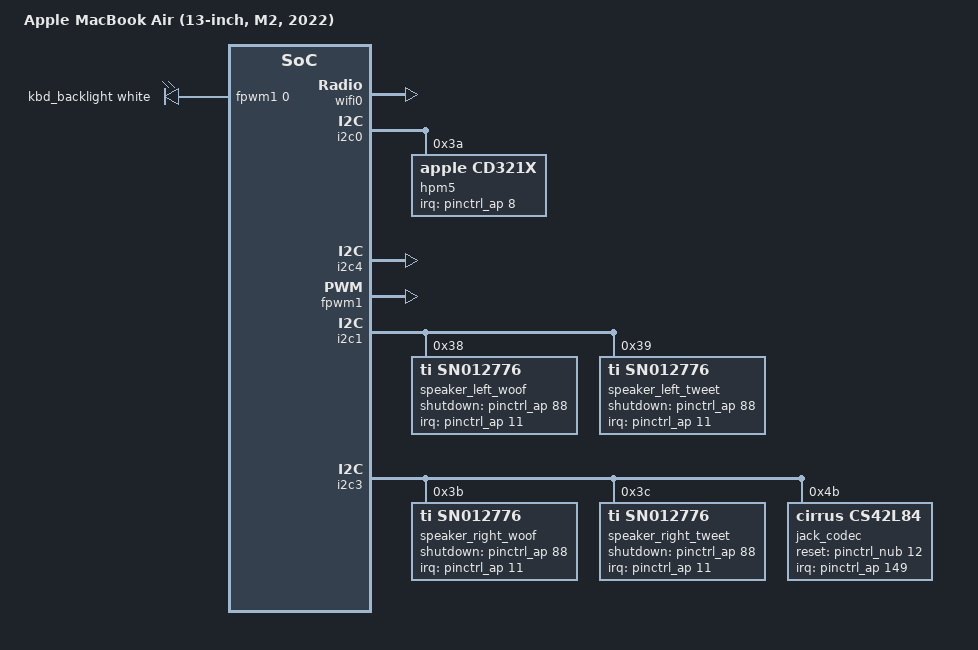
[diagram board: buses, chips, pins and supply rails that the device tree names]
// SPDX-License-Identifier: GPL-2.0+ OR MIT
/*
 * Apple MacBook Air (M2, 2022)
 *
 * target-type: J413
 *
 * Copyright The Asahi Linux Contributors
 */

/dts-v1/;

#include "t8112.dtsi"
#include "t8112-jxxx.dtsi"
#include <dt-bindings/leds/common.h>

/ {
	compatible = "apple,j413", "apple,t8112", "apple,arm-platform";
	model = "Apple MacBook Air (13-inch, M2, 2022)";
	chassis-type = "laptop";

	aliases {
		bluetooth0 = &bluetooth0;
		wifi0 = &wifi0;
	};

	led-controller {
		compatible = "pwm-leds";
		led-0 {
			pwms = <&fpwm1 0 40000>;
			label = "kbd_backlight";
			function = LED_FUNCTION_KBD_BACKLIGHT;
			color = <LED_COLOR_ID_WHITE>;
			max-brightness = <255>;
			default-state = "keep";
		};
	};
};

/*
 * Force the bus number assignments so that we can declare some of the
 * on-board devices and properties that are populated by the bootloader
 * (such as MAC addresses).
 */
&port00 {
	bus-range = <1 1>;
	wifi0: wifi@0,0 {
		compatible = "pci14e4,4433";
		reg = <0x10000 0x0 0x0 0x0 0x0>;
		/* To be filled by the loader */
		local-mac-address = [00 10 18 00 00 10];
		apple,antenna-sku = "XX";
		brcm,board-type = "apple,hokkaido";
	};

	bluetooth0: bluetooth@0,1 {
		compatible = "pci14e4,5f71";
		reg = <0x10100 0x0 0x0 0x0 0x0>;
		/* To be filled by the loader */
		local-bd-address = [00 00 00 00 00 00];
		brcm,board-type = "apple,hokkaido";
	};
};

/*
 * Provide labels for the USB type C ports.
 */

&typec0 {
	label = "USB-C Left-back";
};

&typec1 {
	label = "USB-C Left-front";
};

&i2c0 {
	/* MagSafe port */
	hpm5: usb-pd@3a {
		compatible = "apple,cd321x";
		reg = <0x3a>;
		interrupt-parent = <&pinctrl_ap>;
		interrupts = <8 IRQ_TYPE_LEVEL_LOW>;
		interrupt-names = "irq";
	};
};

&i2c4 {
	status = "okay";
};

&fpwm1 {
	status = "okay";
};

/* Audio codecs */
&i2c1 {
	status = "okay";

	speaker_left_woof: codec@38 {
		compatible = "ti,sn012776";
		reg = <0x38>;
		interrupts-extended = <&pinctrl_ap 11 IRQ_TYPE_LEVEL_LOW>;
		shutdown-gpios = <&pinctrl_ap 88 GPIO_ACTIVE_HIGH>;
		#sound-dai-cells = <0>;
		sound-name-prefix = "Left Woofer";
		ti,imon-slot-no = <0>;
		ti,vmon-slot-no = <2>;
	};

	speaker_left_tweet: codec@39 {
		compatible = "ti,sn012776";
		reg = <0x39>;
		interrupts-extended = <&pinctrl_ap 11 IRQ_TYPE_LEVEL_LOW>;
		shutdown-gpios = <&pinctrl_ap 88 GPIO_ACTIVE_HIGH>;
		#sound-dai-cells = <0>;
		sound-name-prefix = "Left Tweeter";
		ti,imon-slot-no = <8>;
		ti,vmon-slot-no = <10>;
	};
};

&i2c3 {
	status = "okay";

	speaker_right_woof: codec@3b {
		compatible = "ti,sn012776";
		reg = <0x3b>;
		interrupts-extended = <&pinctrl_ap 11 IRQ_TYPE_LEVEL_LOW>;
		shutdown-gpios = <&pinctrl_ap 88 GPIO_ACTIVE_HIGH>;
		#sound-dai-cells = <0>;
		sound-name-prefix = "Right Woofer";
		ti,imon-slot-no = <4>;
		ti,vmon-slot-no = <6>;
	};

	speaker_right_tweet: codec@3c {
		compatible = "ti,sn012776";
		reg = <0x3c>;
		interrupts-extended = <&pinctrl_ap 11 IRQ_TYPE_LEVEL_LOW>;
		shutdown-gpios = <&pinctrl_ap 88 GPIO_ACTIVE_HIGH>;
		#sound-dai-cells = <0>;
		sound-name-prefix = "Right Tweeter";
		ti,imon-slot-no = <12>;
		ti,vmon-slot-no = <14>;
	};

	jack_codec: codec@4b {
		compatible = "cirrus,cs42l84";
		reg = <0x4b>;
		interrupts-extended = <&pinctrl_ap 149 IRQ_TYPE_LEVEL_LOW>;
		reset-gpios = <&pinctrl_nub 12 GPIO_ACTIVE_HIGH>;
		#sound-dai-cells = <0>;
		sound-name-prefix = "Jack";
	};
};

/ {
	sound: sound {
		compatible = "apple,j413-macaudio";
		model = "MacBook Air J413";

		#address-cells = <1>;
		#size-cells = <0>;

		dai-link@0 {
			reg = <0>;

			dai-tdm-idle-mode-0 = "zero";
			dai-tdm-idle-mode-2 = "zero";
			dai-tdm-slot-tx-idle-mask-0 = <0xf0f0>;
			dai-tdm-slot-tx-idle-mask-2 = <0x0f0f>;

			link-name = "Speakers";

			codec {
				sound-dai = <&speaker_left_woof>,
					    <&speaker_left_tweet>,
					    <&speaker_right_woof>,
					    <&speaker_right_tweet>;
			};

			cpu {
				sound-dai = <&mca 0>, <&mca 1>;
			};
		};

		dai-link@1 {
			reg = <1>;

			link-name = "Headphone Jack";

			codec {
				sound-dai = <&jack_codec>;
			};

			cpu {
				sound-dai = <&mca 2>;
			};
		};
	};
};

#include "hwmon-laptop.dtsi"
